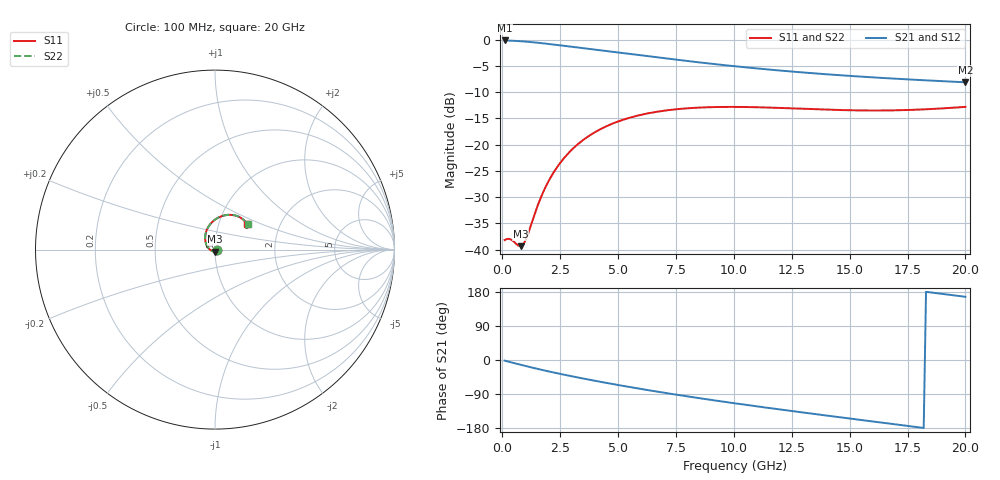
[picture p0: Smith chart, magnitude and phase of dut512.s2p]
! Touchstone file exported from HFSS 2024.1.0
!  File:  C:/UserFiles/LocalFiles/RDL_TSV_Batchsim/temp_RDL_TSV_512_1779739967.aedt
!  Generated:  04:26:42 AM May 26, 2026
!  Design:  RDL_TSV
!  Project:  temp_RDL_TSV_512_1779739967
!  Setup:  Setup1
!  Solution:  Sweep
! Variables:
!  dtsv = 9.1um
!  hbump = 3um
!  htsv = 72.21um
!  ldown = 238.94um
!  lrdl = 540.89um
!  p = 40
!  p1 = 43.49um
!  rhole = 10um
!  subl = 2880.38um
!  t = 450um
!  tdown = 2.16um
!  trdl = 4.63um
!  viad = 10um
!  wdown = 24.29um
!  wrdl = 26.1um
!  xbump = 18um
# GHz S MA R 50.000000
! Terminal data exported
! Port[1] = TM1_1_T1
! Port[2] = TM1_4_T1
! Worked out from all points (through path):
!   200 points, 100 MHz to 20 GHz, reference 50 ohm
!   highest |S21| = -0.11 dB at 100 MHz (marker M1); lowest = -8.1 dB at 20 GHz (marker M2)
!   group delay of S21, straight-line fit = 25.5 ps
!   lowest |S11| = -39.4 dB at 800 MHz (marker M3), VSWR 1.02, Z = 50.1 - j1.07 ohm
!   |S11| at or under -10 dB: start of sweep to end of sweep
!   |S22| runs from -39.4 to -12.8 dB; largest |S21 - S12| = 1.5e-14
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0.1  0.0123 -4.1  0.9873 -1.7  0.9873 -1.7  0.0123 -4.1
! Gamma 0 0 0 0
! Port Impedance 50 0 50 0
0.3  0.01265 -18.8  0.9838 -4.9  0.9838 -4.9  0.01264 -18.8
0.8  0.01077 -84.3  0.9704 -12.7  0.9704 -12.7  0.01076 -84.4
0.9  0.01116 -101.8  0.9668 -14.2  0.9668 -14.2  0.01116 -102.0
1  0.0122 -118.8  0.963 -15.8  0.963 -15.8  0.0122 -118.9
1.6  0.02886 179.3  0.9354 -24.5  0.9354 -24.5  0.02893 179.2
1.8  0.03663 168.2  0.925 -27.3  0.925 -27.3  0.03673 168.1
2.1  0.04925 155.1  0.9088 -31.4  0.9088 -31.4  0.04938 155.1
2.4  0.06253 144.6  0.8923 -35.4  0.8923 -35.4  0.06269 144.5
2.7  0.07605 135.6  0.8757 -39.2  0.8757 -39.2  0.07625 135.5
3.5  0.1113 116.3  0.8322 -49.0  0.8322 -49.0  0.1116 116.3
4.2  0.1392 102.9  0.7959 -57.1  0.7959 -57.1  0.1396 102.9
4.9  0.1634 91.6  0.7611 -64.9  0.7611 -64.9  0.1638 91.6
5.8  0.1883 79.5  0.7189 -74.5  0.7189 -74.5  0.1888 79.5
6.8  0.2082 68.4  0.6753 -84.6  0.6753 -84.6  0.2087 68.4
8.4  0.2253 54.7  0.6134 -99.7  0.6134 -99.7  0.2259 54.7
10.1  0.2293 44.4  0.5586 -114.8  0.5586 -114.8  0.2299 44.5
11.7  0.2254 38.2  0.5166 -128.1  0.5166 -128.1  0.226 38.3
13.4  0.2183 34.8  0.4807 -141.8  0.4807 -141.8  0.2189 34.9
15  0.2131 34.1  0.4534 -154.4  0.4534 -154.4  0.2137 34.2
16.7  0.2124 35.1  0.4296 -167.7  0.4296 -167.7  0.213 35.2
20  0.2296 38.0  0.3939 166.8  0.3939 166.8  0.2304 38.1
